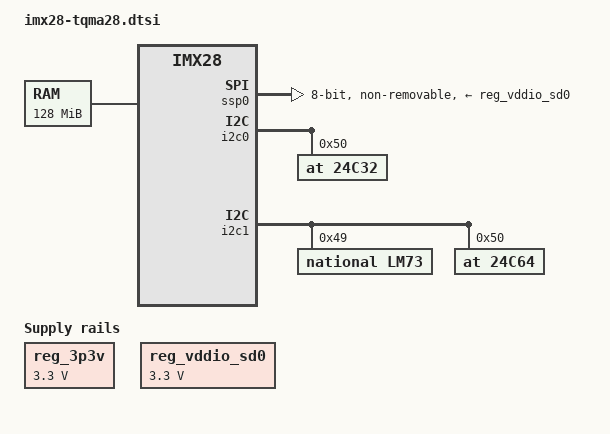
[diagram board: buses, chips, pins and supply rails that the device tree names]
/*
 * Copyright 2012 Freescale Semiconductor, Inc.
 *
 * The code contained herein is licensed under the GNU General Public
 * License. You may obtain a copy of the GNU General Public License
 * Version 2 or later at the following locations:
 *
 * http://www.opensource.org/licenses/gpl-license.html
 * http://www.gnu.org/copyleft/gpl.html
 */

#include "imx28.dtsi"

/ {
	memory {
		reg = <0x40000000 0x08000000>;
	};

	apb@80000000 {
		apbh@80000000 {
			ssp0: ssp@80010000 {
				compatible = "fsl,imx28-mmc";
				pinctrl-names = "default";
				pinctrl-0 = <&mmc0_8bit_pins_b
						&mmc0_cmd_cfg
						&mmc0_sck_cfg>;
				bus-width = <8>;
				non-removable;
				vmmc-supply = <&reg_vddio_sd0>;
				status = "okay";
			};

			pinctrl@80018000 {
				mmc0_8bit_pins_b: mmc0-8bit@0 {
					reg = <0>;
					fsl,pinmux-ids = <
						MX28_PAD_SSP0_DATA0__SSP0_D0
						MX28_PAD_SSP0_DATA1__SSP0_D1
						MX28_PAD_SSP0_DATA2__SSP0_D2
						MX28_PAD_SSP0_DATA3__SSP0_D3
						MX28_PAD_SSP0_DATA4__SSP0_D4
						MX28_PAD_SSP0_DATA5__SSP0_D5
						MX28_PAD_SSP0_DATA6__SSP0_D6
						MX28_PAD_SSP0_DATA7__SSP0_D7
					>;
					fsl,drive-strength = <MXS_DRIVE_4mA>;
					fsl,voltage = <MXS_VOLTAGE_HIGH>;
					fsl,pull-up = <MXS_PULL_ENABLE>;
				};

				mmc0_cmd_cfg: mmc0-cmd-cfg {
					fsl,pinmux-ids = <
						MX28_PAD_SSP0_CMD__SSP0_CMD
					>;
					fsl,drive-strength = <MXS_DRIVE_8mA>;
					fsl,voltage = <MXS_VOLTAGE_HIGH>;
					fsl,pull-up = <MXS_PULL_ENABLE>;
				};

				mmc0_sck_cfg: mmc0-sck-cfg {
					fsl,drive-strength = <MXS_DRIVE_8mA>;
					fsl,voltage = <MXS_VOLTAGE_HIGH>;
				};
			};
		};

		apbx@80040000 {
			i2c0: i2c@80058000 {
				pinctrl-names = "default";
				pinctrl-0 = <&i2c0_pins_a>;
				status = "okay";

				/* boot eeprom on tqma28.0200 */
				24c32@50 {
					compatible = "at,24c32";
					reg = <0x50>;
					pagesize = <8>;
					read-only;
				};
			};

			i2c1: i2c@8005a000 {
				pinctrl-names = "default";
				pinctrl-0 = <&i2c1_pins_a>;
				status = "okay";

				lm73@49 {
					compatible = "national,lm73";
					reg = <0x49>;
				};

				24c64@50 {
					compatible = "at,24c64";
					reg = <0x50>;
					pagesize = <32>;
				};
			};
		};
	};

	regulators {
		compatible = "simple-bus";

		reg_3p3v: 3p3v {
			compatible = "regulator-fixed";
			regulator-name = "3P3V";
			regulator-min-microvolt = <3300000>;
			regulator-max-microvolt = <3300000>;
			regulator-always-on;
		};

		reg_vddio_sd0: vddio-sd0 {
			compatible = "regulator-fixed";
			regulator-name = "vddio-sd0";
			regulator-min-microvolt = <3300000>;
			regulator-max-microvolt = <3300000>;
			regulator-always-on;
		};
	};
};
